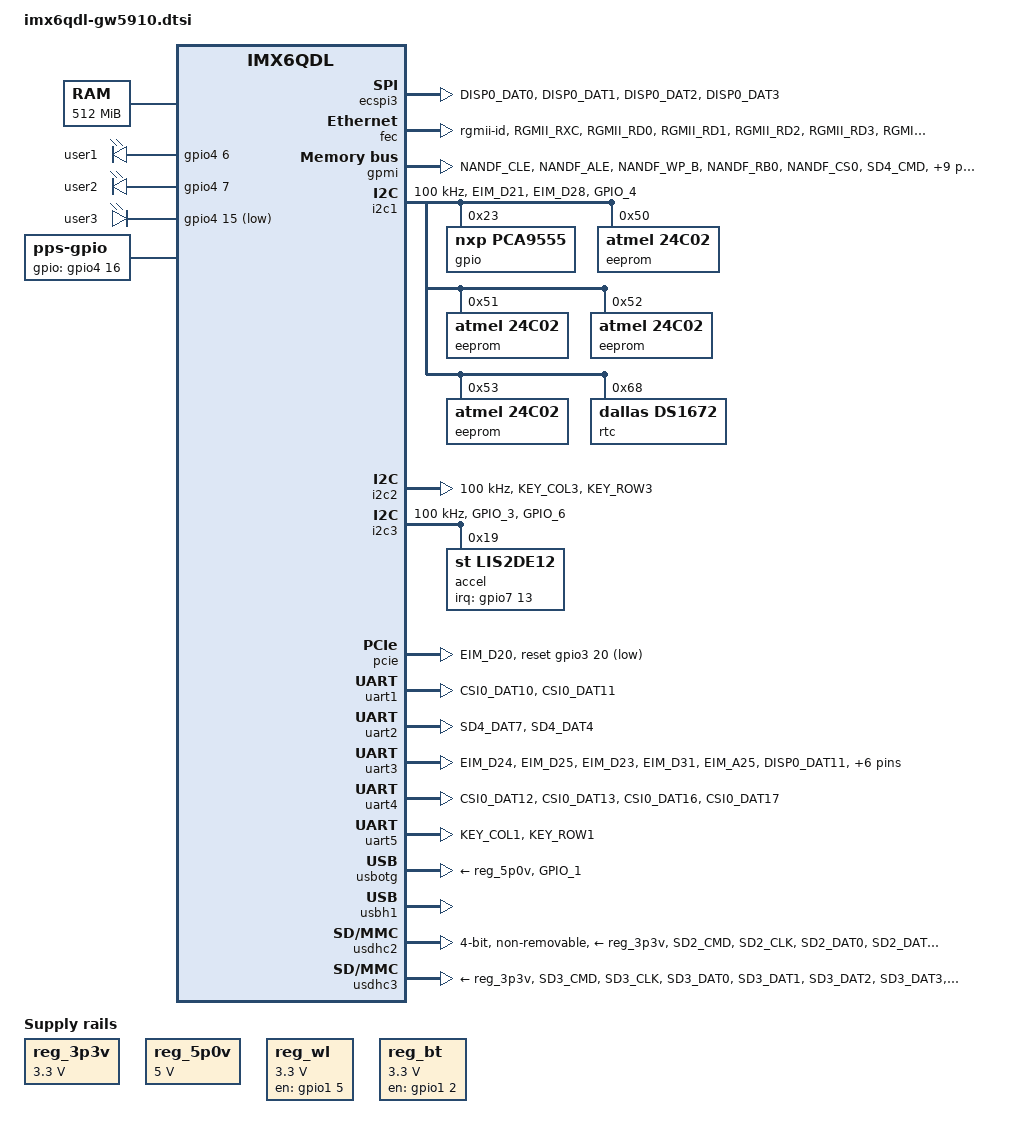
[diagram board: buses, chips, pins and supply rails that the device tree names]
// SPDX-License-Identifier: GPL-2.0
/*
 * Copyright 2019 Gateworks Corporation
 */

#include <dt-bindings/gpio/gpio.h>

/ {
	/* these are used by bootloader for disabling nodes */
	aliases {
		led0 = &led0;
		led1 = &led1;
		led2 = &led2;
	};

	chosen {
		stdout-path = &uart2;
	};

	memory@10000000 {
		device_type = "memory";
		reg = <0x10000000 0x20000000>;
	};

	leds {
		compatible = "gpio-leds";
		pinctrl-names = "default";
		pinctrl-0 = <&pinctrl_gpio_leds>;

		led0: user1 {
			label = "user1";
			gpios = <&gpio4 6 GPIO_ACTIVE_HIGH>; /* MX6_PANLEDG */
			default-state = "on";
			linux,default-trigger = "heartbeat";
		};

		led1: user2 {
			label = "user2";
			gpios = <&gpio4 7 GPIO_ACTIVE_HIGH>; /* MX6_PANLEDR */
			default-state = "off";
		};

		led2: user3 {
			label = "user3";
			gpios = <&gpio4 15 GPIO_ACTIVE_LOW>; /* MX6_LOCLED# */
			default-state = "off";
		};
	};

	pps {
		compatible = "pps-gpio";
		pinctrl-names = "default";
		pinctrl-0 = <&pinctrl_pps>;
		gpios = <&gpio4 16 GPIO_ACTIVE_HIGH>;
		status = "okay";
	};

	reg_3p3v: regulator-3p3v {
		compatible = "regulator-fixed";
		regulator-name = "3P3V";
		regulator-min-microvolt = <3300000>;
		regulator-max-microvolt = <3300000>;
		regulator-always-on;
	};

	reg_5p0v: regulator-5p0v {
		compatible = "regulator-fixed";
		regulator-name = "5P0V";
		regulator-min-microvolt = <5000000>;
		regulator-max-microvolt = <5000000>;
		regulator-always-on;
	};

	reg_wl: regulator-wl {
		pinctrl-names = "default";
		pinctrl-0 = <&pinctrl_reg_wl>;
		compatible = "regulator-fixed";
		regulator-name = "wl";
		gpio = <&gpio1 5 GPIO_ACTIVE_HIGH>;
		startup-delay-us = <100>;
		enable-active-high;
		regulator-min-microvolt = <3300000>;
		regulator-max-microvolt = <3300000>;
		regulator-always-on;
	};

	reg_bt: regulator-bt {
		pinctrl-names = "default";
		pinctrl-0 = <&pinctrl_reg_bt>;
		compatible = "regulator-fixed";
		regulator-name = "bt";
		gpio = <&gpio1 2 GPIO_ACTIVE_HIGH>;
		startup-delay-us = <100>;
		enable-active-high;
		regulator-min-microvolt = <3300000>;
		regulator-max-microvolt = <3300000>;
		regulator-always-on;
	};
};


&ecspi3 {
	cs-gpios = <&gpio4 24 GPIO_ACTIVE_HIGH>;
	pinctrl-names = "default";
	pinctrl-0 = <&pinctrl_ecspi3>;
	status = "okay";
};

&fec {
	pinctrl-names = "default";
	pinctrl-0 = <&pinctrl_enet>;
	phy-mode = "rgmii-id";
	status = "okay";
};

&gpmi {
	pinctrl-names = "default";
	pinctrl-0 = <&pinctrl_gpmi_nand>;
	status = "okay";
};

&i2c1 {
	clock-frequency = <100000>;
	pinctrl-names = "default";
	pinctrl-0 = <&pinctrl_i2c1>;
	status = "okay";

	gpio@23 {
		compatible = "nxp,pca9555";
		reg = <0x23>;
		gpio-controller;
		#gpio-cells = <2>;
	};

	eeprom@50 {
		compatible = "atmel,24c02";
		reg = <0x50>;
		pagesize = <16>;
	};

	eeprom@51 {
		compatible = "atmel,24c02";
		reg = <0x51>;
		pagesize = <16>;
	};

	eeprom@52 {
		compatible = "atmel,24c02";
		reg = <0x52>;
		pagesize = <16>;
	};

	eeprom@53 {
		compatible = "atmel,24c02";
		reg = <0x53>;
		pagesize = <16>;
	};

	rtc@68 {
		compatible = "dallas,ds1672";
		reg = <0x68>;
	};
};

&i2c2 {
	clock-frequency = <100000>;
	pinctrl-names = "default";
	pinctrl-0 = <&pinctrl_i2c2>;
	status = "okay";
};

&i2c3 {
	clock-frequency = <100000>;
	pinctrl-names = "default";
	pinctrl-0 = <&pinctrl_i2c3>;
	status = "okay";

	accel@19 {
		pinctrl-names = "default";
		pinctrl-0 = <&pinctrl_accel>;
		compatible = "st,lis2de12";
		reg = <0x19>;
		st,drdy-int-pin = <1>;
		interrupt-parent = <&gpio7>;
		interrupts = <13 0>;
		interrupt-names = "INT1";
	};
};

&pcie {
	pinctrl-names = "default";
	pinctrl-0 = <&pinctrl_pcie>;
	reset-gpio = <&gpio3 20 GPIO_ACTIVE_LOW>;
	status = "okay";
};

&pwm2 {
	pinctrl-names = "default";
	pinctrl-0 = <&pinctrl_pwm2>; /* MX6_DIO1 */
	status = "disabled";
};

&pwm3 {
	pinctrl-names = "default";
	pinctrl-0 = <&pinctrl_pwm3>; /* MX6_DIO2 */
	status = "disabled";
};

/* off-board RS232 */
&uart1 {
	pinctrl-names = "default";
	pinctrl-0 = <&pinctrl_uart1>;
	status = "okay";
};

/* serial console */
&uart2 {
	pinctrl-names = "default";
	pinctrl-0 = <&pinctrl_uart2>;
	status = "okay";
};

/* cc1352 */
&uart3 {
	pinctrl-names = "default";
	pinctrl-0 = <&pinctrl_uart3>;
	uart-has-rtscts;
	status = "okay";
};

/* Sterling-LWB Bluetooth */
&uart4 {
	pinctrl-names = "default";
	pinctrl-0 = <&pinctrl_uart4>;
	uart-has-rtscts;
	status = "okay";
};

/* GPS */
&uart5 {
	pinctrl-names = "default";
	pinctrl-0 = <&pinctrl_uart5>;
	status = "okay";
};

&usbotg {
	vbus-supply = <&reg_5p0v>;
	pinctrl-names = "default";
	pinctrl-0 = <&pinctrl_usbotg>;
	disable-over-current;
	status = "okay";
};

&usbh1 {
	status = "okay";
};

/* Sterling-LWB SDIO WiFi */
&usdhc2 {
	pinctrl-names = "default";
	pinctrl-0 = <&pinctrl_usdhc2>;
	vmmc-supply = <&reg_3p3v>;
	non-removable;
	bus-width = <4>;
	status = "okay";
};

&usdhc3 {
	pinctrl-names = "default", "state_100mhz", "state_200mhz";
	pinctrl-0 = <&pinctrl_usdhc3>;
	pinctrl-1 = <&pinctrl_usdhc3_100mhz>;
	pinctrl-2 = <&pinctrl_usdhc3_200mhz>;
	cd-gpios = <&gpio7 0 GPIO_ACTIVE_LOW>;
	vmmc-supply = <&reg_3p3v>;
	status = "okay";
};

&wdog1 {
	pinctrl-names = "default";
	pinctrl-0 = <&pinctrl_wdog>;
	fsl,ext-reset-output;
};

&iomuxc {
	pinctrl_accel: accelmuxgrp {
		fsl,pins = <
			MX6QDL_PAD_GPIO_18__GPIO7_IO13		0x1b0b1
		>;
	};

	pinctrl_ecspi3: escpi3grp {
		fsl,pins = <
			MX6QDL_PAD_DISP0_DAT0__ECSPI3_SCLK	0x100b1
			MX6QDL_PAD_DISP0_DAT1__ECSPI3_MOSI	0x100b1
			MX6QDL_PAD_DISP0_DAT2__ECSPI3_MISO	0x100b1
			MX6QDL_PAD_DISP0_DAT3__GPIO4_IO24	0x100b1
		>;
	};

	pinctrl_enet: enetgrp {
		fsl,pins = <
			MX6QDL_PAD_RGMII_RXC__RGMII_RXC		0x1b030
			MX6QDL_PAD_RGMII_RD0__RGMII_RD0		0x1b030
			MX6QDL_PAD_RGMII_RD1__RGMII_RD1		0x1b030
			MX6QDL_PAD_RGMII_RD2__RGMII_RD2		0x1b030
			MX6QDL_PAD_RGMII_RD3__RGMII_RD3		0x1b030
			MX6QDL_PAD_RGMII_RX_CTL__RGMII_RX_CTL	0x1b030
			MX6QDL_PAD_RGMII_TXC__RGMII_TXC		0x1b030
			MX6QDL_PAD_RGMII_TD0__RGMII_TD0		0x1b030
			MX6QDL_PAD_RGMII_TD1__RGMII_TD1		0x1b030
			MX6QDL_PAD_RGMII_TD2__RGMII_TD2		0x1b030
			MX6QDL_PAD_RGMII_TD3__RGMII_TD3		0x1b030
			MX6QDL_PAD_RGMII_TX_CTL__RGMII_TX_CTL	0x1b030
			MX6QDL_PAD_ENET_REF_CLK__ENET_TX_CLK	0x1b0b0
			MX6QDL_PAD_ENET_MDIO__ENET_MDIO		0x1b0b0
			MX6QDL_PAD_ENET_MDC__ENET_MDC		0x1b0b0
			MX6QDL_PAD_GPIO_16__ENET_REF_CLK	0x4001b0a8
			MX6QDL_PAD_ENET_TXD0__GPIO1_IO30	0x1b0b0
		>;
	};

	pinctrl_gpio_leds: gpioledsgrp {
		fsl,pins = <
			MX6QDL_PAD_KEY_COL0__GPIO4_IO06  0x1b0b0
			MX6QDL_PAD_KEY_ROW0__GPIO4_IO07  0x1b0b0
			MX6QDL_PAD_KEY_ROW4__GPIO4_IO15  0x1b0b0
		>;
	};

	pinctrl_gpmi_nand: gpminandgrp {
		fsl,pins = <
			MX6QDL_PAD_NANDF_CLE__NAND_CLE		0xb0b1
			MX6QDL_PAD_NANDF_ALE__NAND_ALE		0xb0b1
			MX6QDL_PAD_NANDF_WP_B__NAND_WP_B	0xb0b1
			MX6QDL_PAD_NANDF_RB0__NAND_READY_B	0xb000
			MX6QDL_PAD_NANDF_CS0__NAND_CE0_B	0xb0b1
			MX6QDL_PAD_SD4_CMD__NAND_RE_B		0xb0b1
			MX6QDL_PAD_SD4_CLK__NAND_WE_B		0xb0b1
			MX6QDL_PAD_NANDF_D0__NAND_DATA00	0xb0b1
			MX6QDL_PAD_NANDF_D1__NAND_DATA01	0xb0b1
			MX6QDL_PAD_NANDF_D2__NAND_DATA02	0xb0b1
			MX6QDL_PAD_NANDF_D3__NAND_DATA03	0xb0b1
			MX6QDL_PAD_NANDF_D4__NAND_DATA04	0xb0b1
			MX6QDL_PAD_NANDF_D5__NAND_DATA05	0xb0b1
			MX6QDL_PAD_NANDF_D6__NAND_DATA06	0xb0b1
			MX6QDL_PAD_NANDF_D7__NAND_DATA07	0xb0b1
		>;
	};

	pinctrl_i2c1: i2c1grp {
		fsl,pins = <
			MX6QDL_PAD_EIM_D21__I2C1_SCL		0x4001b8b1
			MX6QDL_PAD_EIM_D28__I2C1_SDA		0x4001b8b1
			MX6QDL_PAD_GPIO_4__GPIO1_IO04		0x0001b0b0
		>;
	};

	pinctrl_i2c2: i2c2grp {
		fsl,pins = <
			MX6QDL_PAD_KEY_COL3__I2C2_SCL		0x4001b8b1
			MX6QDL_PAD_KEY_ROW3__I2C2_SDA		0x4001b8b1
		>;
	};

	pinctrl_i2c3: i2c3grp {
		fsl,pins = <
			MX6QDL_PAD_GPIO_3__I2C3_SCL		0x4001b8b1
			MX6QDL_PAD_GPIO_6__I2C3_SDA		0x4001b8b1
		>;
	};

	pinctrl_pcie: pciegrp {
		fsl,pins = <
			MX6QDL_PAD_EIM_D20__GPIO3_IO20		0x1b0b0
		>;
	};

	pinctrl_pps: ppsgrp {
		fsl,pins = <
			MX6QDL_PAD_DI0_DISP_CLK__GPIO4_IO16	0x1b0b1
		>;
	};

	pinctrl_pwm2: pwm2grp {
		fsl,pins = <
			MX6QDL_PAD_SD1_DAT2__PWM2_OUT		0x1b0b1
		>;
	};

	pinctrl_pwm3: pwm3grp {
		fsl,pins = <
			MX6QDL_PAD_SD1_DAT1__PWM3_OUT		0x1b0b1
		>;
	};

	pinctrl_reg_bt: regbtgrp {
		fsl,pins = <
			MX6QDL_PAD_GPIO_2__GPIO1_IO02		0x1b0b1
		>;
	};

	pinctrl_reg_wl: regwlgrp {
		fsl,pins = <
			MX6QDL_PAD_GPIO_5__GPIO1_IO05		0x1b0b1
		>;
	};

	pinctrl_uart1: uart1grp {
		fsl,pins = <
			MX6QDL_PAD_CSI0_DAT10__UART1_TX_DATA	0x1b0b1
			MX6QDL_PAD_CSI0_DAT11__UART1_RX_DATA	0x1b0b1
		>;
	};

	pinctrl_uart2: uart2grp {
		fsl,pins = <
			MX6QDL_PAD_SD4_DAT7__UART2_TX_DATA	0x1b0b1
			MX6QDL_PAD_SD4_DAT4__UART2_RX_DATA	0x1b0b1
		>;
	};

	pinctrl_uart3: uart3grp {
		fsl,pins = <
			MX6QDL_PAD_EIM_D24__UART3_TX_DATA	0x1b0b1
			MX6QDL_PAD_EIM_D25__UART3_RX_DATA	0x1b0b1
			MX6QDL_PAD_EIM_D23__UART3_RTS_B		0x1b0b1
			MX6QDL_PAD_EIM_D31__UART3_CTS_B		0x1b0b1
			MX6QDL_PAD_EIM_A25__GPIO5_IO02		0x4001b0b1 /* DIO20 */
			MX6QDL_PAD_DISP0_DAT11__GPIO5_IO05	0x4001b0b1 /* DIO14 */
			MX6QDL_PAD_DISP0_DAT12__GPIO5_IO06	0x4001b0b1 /* DIO15 */
			MX6QDL_PAD_DISP0_DAT14__GPIO5_IO08	0x1b0b1 /* TMS */
			MX6QDL_PAD_DISP0_DAT15__GPIO5_IO09	0x1b0b1 /* TCK */
			MX6QDL_PAD_DISP0_DAT16__GPIO5_IO10	0x1b0b1 /* TDO */
			MX6QDL_PAD_DISP0_DAT17__GPIO5_IO11	0x1b0b1 /* TDI */
			MX6QDL_PAD_DISP0_DAT23__GPIO5_IO17	0x4001b0b1 /* RST# */
		>;
	};

	pinctrl_uart4: uart4grp {
		fsl,pins = <
			MX6QDL_PAD_CSI0_DAT12__UART4_TX_DATA	0x1b0b1
			MX6QDL_PAD_CSI0_DAT13__UART4_RX_DATA	0x1b0b1
			MX6QDL_PAD_CSI0_DAT16__UART4_RTS_B	0x1b0b1
			MX6QDL_PAD_CSI0_DAT17__UART4_CTS_B	0x1b0b1
		>;
	};

	pinctrl_uart5: uart5grp {
		fsl,pins = <
			MX6QDL_PAD_KEY_COL1__UART5_TX_DATA	0x1b0b1
			MX6QDL_PAD_KEY_ROW1__UART5_RX_DATA	0x1b0b1
		>;
	};

	pinctrl_usbotg: usbotggrp {
		fsl,pins = <
			MX6QDL_PAD_GPIO_1__USB_OTG_ID		0x13059
		>;
	};

	pinctrl_usdhc2: usdhc2grp {
		fsl,pins = <
			MX6QDL_PAD_SD2_CMD__SD2_CMD		0x17059
			MX6QDL_PAD_SD2_CLK__SD2_CLK		0x10059
			MX6QDL_PAD_SD2_DAT0__SD2_DATA0		0x17059
			MX6QDL_PAD_SD2_DAT1__SD2_DATA1		0x17059
			MX6QDL_PAD_SD2_DAT2__SD2_DATA2		0x17059
			MX6QDL_PAD_SD2_DAT3__SD2_DATA3		0x17059
		>;
	};

	pinctrl_usdhc3: usdhc3grp {
		fsl,pins = <
			MX6QDL_PAD_SD3_CMD__SD3_CMD		0x17059
			MX6QDL_PAD_SD3_CLK__SD3_CLK		0x10059
			MX6QDL_PAD_SD3_DAT0__SD3_DATA0		0x17059
			MX6QDL_PAD_SD3_DAT1__SD3_DATA1		0x17059
			MX6QDL_PAD_SD3_DAT2__SD3_DATA2		0x17059
			MX6QDL_PAD_SD3_DAT3__SD3_DATA3		0x17059
			MX6QDL_PAD_SD3_DAT5__GPIO7_IO00		0x17059 /* CD */
			MX6QDL_PAD_NANDF_CS1__SD3_VSELECT	0x17059
		>;
	};

	pinctrl_usdhc3_100mhz: usdhc3grp100mhz {
		fsl,pins = <
			MX6QDL_PAD_SD3_CMD__SD3_CMD		0x170b9
			MX6QDL_PAD_SD3_CLK__SD3_CLK		0x170b9
			MX6QDL_PAD_SD3_DAT0__SD3_DATA0		0x170b9
			MX6QDL_PAD_SD3_DAT1__SD3_DATA1		0x170b9
			MX6QDL_PAD_SD3_DAT2__SD3_DATA2		0x170b9
			MX6QDL_PAD_SD3_DAT3__SD3_DATA3		0x170b9
			MX6QDL_PAD_SD3_DAT5__GPIO7_IO00		0x170b9 /* CD */
			MX6QDL_PAD_NANDF_CS1__SD3_VSELECT	0x170b9
		>;
	};

	pinctrl_usdhc3_200mhz: usdhc3grp200mhz {
		fsl,pins = <
			MX6QDL_PAD_SD3_CMD__SD3_CMD		0x170f9
			MX6QDL_PAD_SD3_CLK__SD3_CLK		0x100f9
			MX6QDL_PAD_SD3_DAT0__SD3_DATA0		0x170f9
			MX6QDL_PAD_SD3_DAT1__SD3_DATA1		0x170f9
			MX6QDL_PAD_SD3_DAT2__SD3_DATA2		0x170f9
			MX6QDL_PAD_SD3_DAT3__SD3_DATA3		0x170f9
			MX6QDL_PAD_SD3_DAT5__GPIO7_IO00		0x170f9 /* CD */
			MX6QDL_PAD_NANDF_CS1__SD3_VSELECT	0x170f9
		>;
	};

	pinctrl_wdog: wdoggrp {
		fsl,pins = <
			MX6QDL_PAD_DISP0_DAT8__WDOG1_B		0x1b0b0
		>;
	};
};
